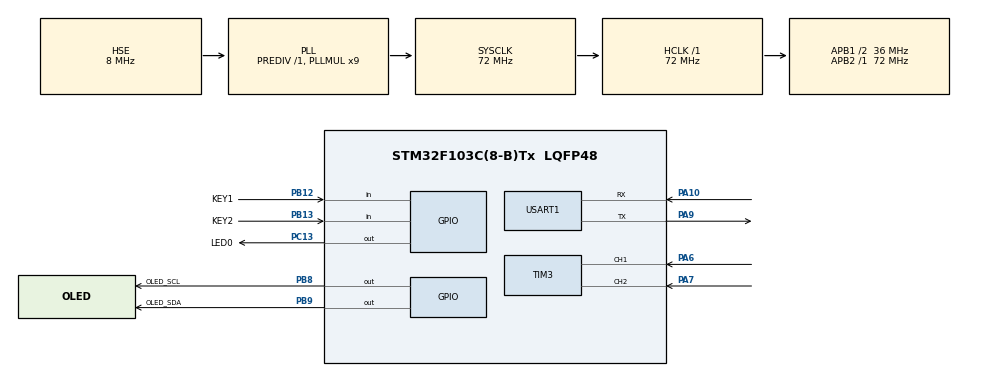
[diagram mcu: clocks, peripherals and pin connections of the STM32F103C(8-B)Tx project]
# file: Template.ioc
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Dma.Request0=USART1_RX
Dma.Request1=USART1_TX
Dma.USART1_RX.0.Direction=DMA_PERIPH_TO_MEMORY
Dma.USART1_RX.0.Instance=DMA1_Channel5
Dma.USART1_RX.0.MemDataAlignment=DMA_MDATAALIGN_BYTE
Dma.USART1_RX.0.MemInc=DMA_MINC_ENABLE
Dma.USART1_RX.0.Mode=DMA_NORMAL
Dma.USART1_RX.0.PeriphDataAlignment=DMA_PDATAALIGN_BYTE
Dma.USART1_RX.0.PeriphInc=DMA_PINC_DISABLE
Dma.USART1_RX.0.Priority=DMA_PRIORITY_LOW
Dma.USART1_TX.1.Direction=DMA_MEMORY_TO_PERIPH
Dma.USART1_TX.1.Instance=DMA1_Channel4
Dma.USART1_TX.1.MemDataAlignment=DMA_MDATAALIGN_BYTE
Dma.USART1_TX.1.MemInc=DMA_MINC_ENABLE
Dma.USART1_TX.1.Mode=DMA_NORMAL
Dma.USART1_TX.1.PeriphDataAlignment=DMA_PDATAALIGN_BYTE
Dma.USART1_TX.1.PeriphInc=DMA_PINC_DISABLE
Dma.USART1_TX.1.Priority=DMA_PRIORITY_LOW
Mcu.Family=STM32F1
Mcu.Name=STM32F103C(8-B)Tx
Mcu.Package=LQFP48
NVIC.DMA1_Channel4_IRQn=true\:0\:0\:false\:false\:true\:false\:true\:true
NVIC.DMA1_Channel5_IRQn=true\:0\:0\:false\:false\:true\:false\:true\:true
NVIC.PriorityGroup=NVIC_PRIORITYGROUP_2
NVIC.USART1_IRQn=true\:0\:0\:false\:false\:true\:true\:true\:true
PA10.Mode=Asynchronous
PA10.Signal=USART1_RX
PA13.Mode=Serial_Wire
PA13.Signal=SYS_JTMS-SWDIO
PA14.Mode=Serial_Wire
PA14.Signal=SYS_JTCK-SWCLK
PA6.Signal=S_TIM3_CH1
PA7.Signal=S_TIM3_CH2
PA9.Mode=Asynchronous
PA9.Signal=USART1_TX
PB12.GPIO_Label=KEY1
PB12.GPIO_PuPd=GPIO_PULLUP
PB12.Signal=GPIO_Input
PB13.GPIO_Label=KEY2
PB13.GPIO_PuPd=GPIO_PULLUP
PB13.Signal=GPIO_Input
PB8.GPIO_Label=OLED_SCL
PB8.GPIO_Speed=GPIO_SPEED_FREQ_HIGH
PB8.Signal=GPIO_Output
PB9.GPIO_Label=OLED_SDA
PB9.GPIO_Speed=GPIO_SPEED_FREQ_HIGH
PB9.PinState=GPIO_PIN_RESET
PB9.Signal=GPIO_Output
PC13-TAMPER-RTC.GPIO_Label=LED0
PC13-TAMPER-RTC.Signal=GPIO_Output
PC14-OSC32_IN.Mode=LSE-External-Oscillator
PC14-OSC32_IN.Signal=RCC_OSC32_IN
PC15-OSC32_OUT.Mode=LSE-External-Oscillator
PC15-OSC32_OUT.Signal=RCC_OSC32_OUT
PD0-OSC_IN.Mode=HSE-External-Oscillator
PD0-OSC_IN.Signal=RCC_OSC_IN
PD1-OSC_OUT.Mode=HSE-External-Oscillator
PD1-OSC_OUT.Signal=RCC_OSC_OUT
ProjectManager.HeapSize=0x200
ProjectManager.StackSize=0x400
ProjectManager.TargetToolchain=MDK-ARM V5.32
RCC.AHBFreq_Value=72000000
RCC.APB1CLKDivider=RCC_HCLK_DIV2
RCC.APB1Freq_Value=36000000
RCC.APB1TimFreq_Value=72000000
RCC.APB2Freq_Value=72000000
RCC.APB2TimFreq_Value=72000000
RCC.HCLKFreq_Value=72000000
RCC.PLLMUL=RCC_PLL_MUL9
RCC.PLLSourceVirtual=RCC_PLLSOURCE_HSE
RCC.SYSCLKFreq_VALUE=72000000
RCC.SYSCLKSource=RCC_SYSCLKSOURCE_PLLCLK
RCC.USBFreq_Value=72000000
SH.S_TIM3_CH1.0=TIM3_CH1,Encoder_Interface
SH.S_TIM3_CH2.0=TIM3_CH2,Encoder_Interface
TIM3.EncoderMode=TIM_ENCODERMODE_TI12
USART1.VirtualMode=VM_ASYNC
board=custom

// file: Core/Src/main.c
/* USER CODE BEGIN Header */
/**
  ******************************************************************************
  * @file           : main.c
  * @brief          : Main program body
  ******************************************************************************
  * @attention
  *
  * Copyright (c) 2025 STMicroelectronics.
  * All rights reserved.
  *
  * This software is licensed under terms that can be found in the LICENSE file
  * in the root directory of this software component.
  * If no LICENSE file comes with this software, it is provided AS-IS.
  *
  ******************************************************************************
  */
/* USER CODE END Header */
#include "main.h"
#include "dma.h"
#include "tim.h"
#include "usart.h"
#include "gpio.h"

void SystemClock_Config(void);

/* USER CODE BEGIN 0 */
// *******************前言*******************
/*
	USART1已经被Serial接管,数据接收只能以一定的协议进行

	电脑端为上位机,通过VOFA发送指令(HEX和文本两种类型)
	STM32段为下位机,通过USART1接受指令,执行相应命令,但是STM32发送个电脑(VOFA)的信息不需要遵循相关协议
*/

// *******************库/函数导入*******************
// 系统库
#include <stdlib.h>
#include "string.h"
#include <stdio.h>
// 自设库
#include "OLED.h"
#include "Key.h"
#include "Serial.h"
// *******************全局变量*******************
extern Serial_HEX_Data_Typedef   Serial_Hex_Data ;			// 解析好的HEX数据包
extern Serial_ABC_Data_Typedef   Serial_ABC_Data ;			// 解析好的ABC数据包

// *******************实验区域*******************
int check1 ;
int check2 ;
int check[50] ;

/* USER CODE END 0 */

int main(void)
{

  /* MCU Configuration--------------------------------------------------------*/

  /* Reset of all peripherals, Initializes the Flash interface and the Systick. */
  HAL_Init();

  /* Configure the system clock */
  SystemClock_Config();

  /* Initialize all configured peripherals */
  MX_GPIO_Init();
  MX_DMA_Init();
  MX_USART1_UART_Init();
  MX_TIM3_Init();
  /* USER CODE BEGIN 2 */

	// ******************* setup *******************
	// 启动Systick时钟
	HAL_SYSTICK_Config(SystemCoreClock / 1000);
	// 初始化OLED
	OLED_Init() ;
	OLED_ShowString(0 , 0 , "Hello World" , OLED_8X16 ) ;
	// *串口初始化*
	Serial_Init(&Serial_huart) ;

	// ******************* 实验区域 *******************

  /* USER CODE END 2 */

  /* Infinite loop */
  while (1)
  {

    /* USER CODE BEGIN 3 */
		// ******************* while *******************
		// 测试按键功能
		if (Key_Check(KEY_1 , KEY_SINGLE))
		{
			HAL_GPIO_TogglePin(LED0_GPIO_Port , LED0_Pin) ;

			Set_Current_USART(USART1_IDX); /* 想要指定不同串口必须在printf前加上此函数 */
			printf("Serial=1\n");

		}
		// ******************* 实验区域 *******************
		// 逻辑:电脑通过VOFA发送数据包,STM32通过串口1接受指令,然后进行相应的操作,如下:
		if (Serial_GetNewPackageFlag_HEX() == 1)
		{
			// OLED展示各个数据
			OLED_ShowNum(0 , 20 , Serial_Hex_Data.Serial_New_Package[0] , 1 , OLED_8X16 ) ;
			for (int i = 1 ; i < Serial_Hex_Data.Serial_New_Package[0] + 1 ; i ++)
			{
					OLED_ShowNum(20 , 10 + 10 * i , Serial_Hex_Data.Serial_New_Package[i] , 5 , OLED_6X8 ) ;
			}
		}
		if (Serial_GetNewPackageFlag_ABC() == 1)
		{
				// 文本包调试程序
				Serial_SetIntData("test" , "test=%d" , &check1) ;

				// OLED展示
				OLED_ShowNum(0,  20 , check1 , 3 , OLED_8X16 ) ;
		}
		// 必须存在:OLED更新
		OLED_Update() ;
  }
  /* USER CODE END 3 */
}

void SystemClock_Config(void)
{
  RCC_OscInitTypeDef RCC_OscInitStruct = {0};
  RCC_ClkInitTypeDef RCC_ClkInitStruct = {0};

  /** Initializes the RCC Oscillators according to the specified parameters
  * in the RCC_OscInitTypeDef structure.
  */
  RCC_OscInitStruct.OscillatorType = RCC_OSCILLATORTYPE_HSE;
  RCC_OscInitStruct.HSEState = RCC_HSE_ON;
  RCC_OscInitStruct.HSEPredivValue = RCC_HSE_PREDIV_DIV1;
  RCC_OscInitStruct.HSIState = RCC_HSI_ON;
  RCC_OscInitStruct.PLL.PLLState = RCC_PLL_ON;
  RCC_OscInitStruct.PLL.PLLSource = RCC_PLLSOURCE_HSE;
  RCC_OscInitStruct.PLL.PLLMUL = RCC_PLL_MUL9;
  if (HAL_RCC_OscConfig(&RCC_OscInitStruct) != HAL_OK)
  {
    Error_Handler();
  }

  /** Initializes the CPU, AHB and APB buses clocks
  */
  RCC_ClkInitStruct.ClockType = RCC_CLOCKTYPE_HCLK|RCC_CLOCKTYPE_SYSCLK
                              |RCC_CLOCKTYPE_PCLK1|RCC_CLOCKTYPE_PCLK2;
  RCC_ClkInitStruct.SYSCLKSource = RCC_SYSCLKSOURCE_PLLCLK;
  RCC_ClkInitStruct.AHBCLKDivider = RCC_SYSCLK_DIV1;
  RCC_ClkInitStruct.APB1CLKDivider = RCC_HCLK_DIV2;
  RCC_ClkInitStruct.APB2CLKDivider = RCC_HCLK_DIV1;

  if (HAL_RCC_ClockConfig(&RCC_ClkInitStruct, FLASH_LATENCY_2) != HAL_OK)
  {
    Error_Handler();
  }
}

/* USER CODE BEGIN 4 */
// Systick定时中断
void HAL_SYSTICK_Callback(void)
{
	// 计时
	static int count_sys = 0 ;
	count_sys ++ ;
	// 功能1:
	if (count_sys % 1000 == 0)
	{
//		HAL_GPIO_TogglePin(LED0_GPIO_Port , LED0_Pin ) ;
	}
	// 功能2: 按键
	Key_Tick() ;
}

/* USER CODE END 4 */

void Error_Handler(void)
{
  __disable_irq();
  while (1)
  {
  }
}
